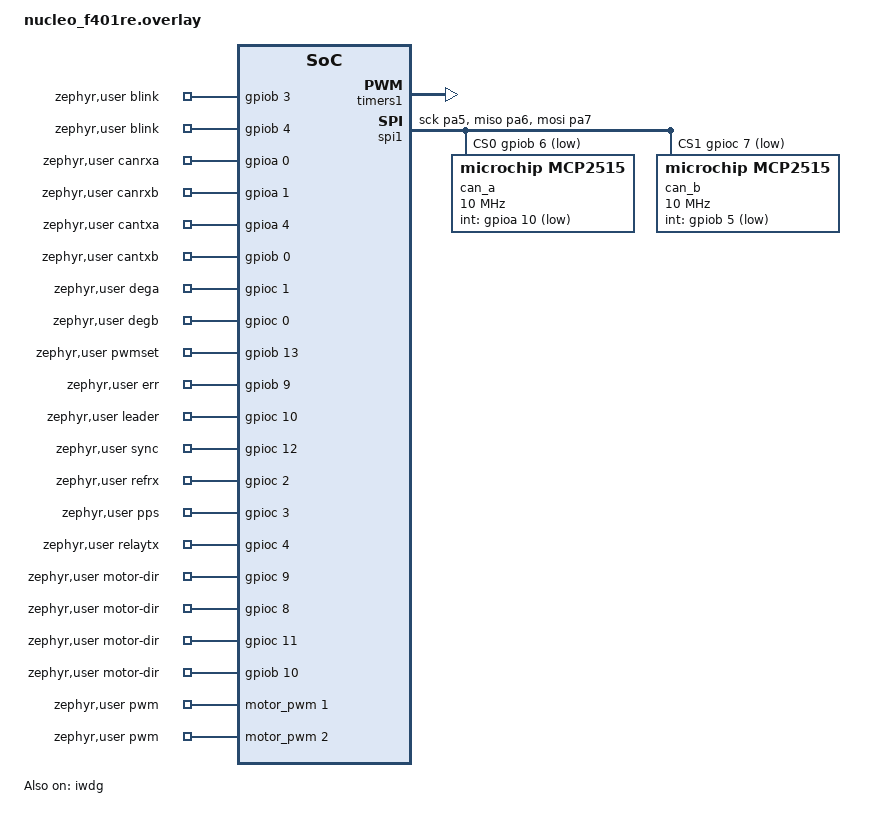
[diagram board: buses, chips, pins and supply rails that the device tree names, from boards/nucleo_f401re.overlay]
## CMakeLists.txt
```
cmake_minimum_required(VERSION 3.20.0)
find_package(Zephyr REQUIRED HINTS $ENV{ZEPHYR_BASE})
project(lab5_drivetrain)

set(NODE_ID 3)
include(${CMAKE_CURRENT_SOURCE_DIR}/../shared/shared.cmake)

target_sources(app PRIVATE
	src/node_drive.c
	src/motor.c
	src/pid.c
)
```

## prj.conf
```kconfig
# Kconfig shared by both STM32 apps (each app's prj.conf is a copy of this file).
CONFIG_GPIO=y
CONFIG_SPI=y
CONFIG_CAN=y
CONFIG_CAN_MCP2515=y
CONFIG_CAN_MCP2515_INT_THREAD_PRIO=0
CONFIG_PWM=y
CONFIG_WATCHDOG=y
CONFIG_PRINTK=y
CONFIG_CBPRINTF_FP_SUPPORT=n
CONFIG_STM32_ENABLE_DEBUG_SLEEP_STOP=y

# lab 5
# main() only prints and feeds the watchdog: keep its slow printk below every real thread
CONFIG_MAIN_THREAD_PRIORITY=12
# serial input for the console commands (e / s / l)
CONFIG_CONSOLE_SUBSYS=y
CONFIG_CONSOLE_GETCHAR=y
# time sync math uses 64-bit division
CONFIG_CBPRINTF_FULL_INTEGRAL=y
# status prints format 64-bit numbers
CONFIG_MAIN_STACK_SIZE=2048
```

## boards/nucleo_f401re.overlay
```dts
/*
 * SPI1: SCK [PA5], MOSI [PA7], MISO [PA6] check
 * CAN A: CS [PB6], INT [PA10] ; CAN B: CS [PC7], INT [PB5] check
 * Blinker: RL [PB3], RR [PB4]
 * ENA [PA8]		ENB [PA9]
 * IN1 [PC9] IN2 [PC8] IN3 [PC11] IN4 [PB10] 
 * Test Button: B1 [PC13], SW0
 * Test Points
 * CAN_RX_A [PA0]	CAN_RX_B [PA1]
 * CAN_TX_A [PA4]	CAN_TX_B [PB0]
 * DEG_A [PC1]		DEG_B [PC0]
 * PWM_SET [PB13]	PWM_OUT [PA8]
 * DIR_A [PC8]	    ERR [PB9]
 *
 * Lab 5 (new wires, morpho header CN7 / CN10):
 * LEADER LED [PC10] CN7-1    SYNC LED [PC12] CN7-3
 * REF_RX     [PC2]  CN7-35   PPS      [PC3]  CN7-37
 * RELAY_TX   [PC4]  right morpho header CN10 (check the silkscreen)
 */

#include <zephyr/dt-bindings/pwm/pwm.h>

/ {

	aliases {
		/delete-property/ led0;
		/delete-property/ pwm-led0;
		can-a = &can_a;
		can-b = &can_b;
	};
	
	zephyr,user {
		blink-gpios = <&gpiob 3 GPIO_ACTIVE_HIGH>, <&gpiob 4 GPIO_ACTIVE_HIGH>;
		canrxa-gpios = <&gpioa 0 GPIO_ACTIVE_HIGH>;
		canrxb-gpios = <&gpioa 1 GPIO_ACTIVE_HIGH>;
		cantxa-gpios = <&gpioa 4 GPIO_ACTIVE_HIGH>;
		cantxb-gpios = <&gpiob 0 GPIO_ACTIVE_HIGH>;
		dega-gpios = <&gpioc 1 GPIO_ACTIVE_HIGH>;
		degb-gpios = <&gpioc 0 GPIO_ACTIVE_HIGH>;
		pwmset-gpios = <&gpiob 13 GPIO_ACTIVE_HIGH>;
		err-gpios = <&gpiob 9 GPIO_ACTIVE_HIGH>;
		/* lab 5 */
		leader-gpios = <&gpioc 10 GPIO_ACTIVE_HIGH>;
		sync-gpios = <&gpioc 12 GPIO_ACTIVE_HIGH>;
		refrx-gpios = <&gpioc 2 GPIO_ACTIVE_HIGH>;
		pps-gpios = <&gpioc 3 GPIO_ACTIVE_HIGH>;
		relaytx-gpios = <&gpioc 4 GPIO_ACTIVE_HIGH>;

		/* 20 kHz motor PWM */
		pwms = <&motor_pwm 1 PWM_USEC(50) PWM_POLARITY_NORMAL>,
		       <&motor_pwm 2 PWM_USEC(50) PWM_POLARITY_NORMAL>;

		/* IN1, IN2 (left), IN3, IN4 (right) */
		motor-dir-gpios = <&gpioc 9 GPIO_ACTIVE_HIGH>,
				  <&gpioc 8 GPIO_ACTIVE_HIGH>,
				  <&gpioc 11 GPIO_ACTIVE_HIGH>,
				  <&gpiob 10 GPIO_ACTIVE_HIGH>;
	};
};

/* The board file puts these on pins we need - turn them off. */
&usart1 { status = "disabled"; };  /* PB6/PB7 */
&i2c3   { status = "disabled"; };  /* PA8 */
&i2c1   { status = "disabled"; };  /* PB8/PB9 */
&spi2   { status = "disabled"; };  /* PB8/PB9 */
&spi3   { status = "disabled"; };  /* PB8/PB9 */
&green_led_2   { status = "disabled"; };
&green_pwm_led { status = "disabled"; };
&pwm2          { status = "disabled"; };


&iwdg	{ status = "okay"; };

&timers1 {
	status = "okay";
	st,prescaler = <0>;
	motor_pwm: pwm {
		status = "okay";
		pinctrl-0 = <&tim1_ch1_pa8 &tim1_ch2_pa9>;
		pinctrl-names = "default";
	};
};

&spi1 {
	status = "okay";
	pinctrl-0 = <&spi1_sck_pa5 &spi1_miso_pa6 &spi1_mosi_pa7>;
	pinctrl-names = "default";
	cs-gpios = <&gpiob 6 (GPIO_ACTIVE_LOW | GPIO_PULL_UP)>,
		   <&gpioc 7 (GPIO_ACTIVE_LOW | GPIO_PULL_UP)>;

	can_a: mcp2515@0 {
		compatible = "microchip,mcp2515";
		reg = <0>;
		spi-max-frequency = <10000000>;
		int-gpios = <&gpioa 10 GPIO_ACTIVE_LOW>;
		osc-freq = <16000000>;	/* must match the crystal on the module */
		bitrate = <500000>;
		status = "okay";
	};

	can_b: mcp2515@1 {
		compatible = "microchip,mcp2515";
		reg = <1>;
		spi-max-frequency = <10000000>;
		int-gpios = <&gpiob 5 GPIO_ACTIVE_LOW>;
		osc-freq = <16000000>;	/* must match the crystal on the module */
		bitrate = <500000>;
		status = "okay";
	};
};
```

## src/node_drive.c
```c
/* N3 drivetrain: the node-specific hooks (see shared/include/node.h). */
#include "motor.h"
#include "node.h"
#include "pid.h"

const char *const node_name = "drivetrain";

int node_outputs_init(void)
{
	motor_init(); /* high priority motor thread, starts braked */
	pid_init();   /* lower priority PID thread */
	return 0;
}

void node_on_ctrl(const struct can_ctrl *c)
{
	motor_on_ctrl(c);
}

void node_kick_outputs(void)
{
	motor_kick();
}

int node_tx_init(void)
{
	return 0; /* N3 only sends its heartbeat (shared hb_tx.c) */
}
```
